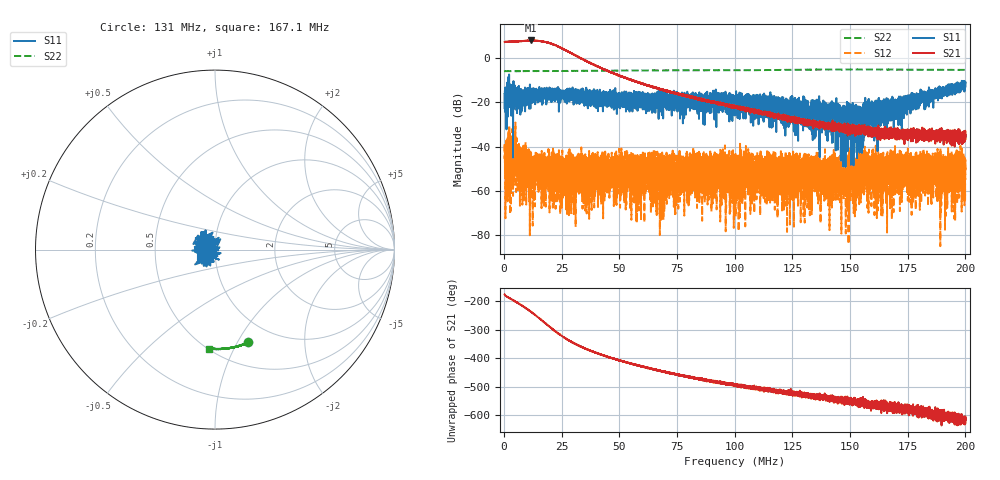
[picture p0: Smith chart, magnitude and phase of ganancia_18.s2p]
# Hz S DB R 50
! CMT, M5065, 19127446, 24.2.4/2
! Date: 11/8/2024 3:55:43 PM
! Data: Format (Calibration Info)
! Freq	S11:dB/Ang(F2)	S21:dB/Ang(F2)	S12:dB/Ang(F2)	S22:dB/Ang(F2)
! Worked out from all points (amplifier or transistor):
!   9000 points, 300 kHz to 200 MHz, reference 50 ohm
!   highest |S21| = 8.0 dB at 11.8 MHz (marker M1)
!   |S21| within 3 dB of that: start of sweep to 24.03 MHz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
!   unconditionally stable (mu >= 1): start of sweep to end of sweep
!   at 33.59 MHz: K = 155.20, MAG = 1.2 dB, |S12| = -52.4 dB
!   at 100.2 MHz: K = 15524.05, MAG = -20.4 dB, |S12| = -70.9 dB
!   at 200 MHz: K = 5890.29, MAG = -32.8 dB, |S12| = -50.5 dB
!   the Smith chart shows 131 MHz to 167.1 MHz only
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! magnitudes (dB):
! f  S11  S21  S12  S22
! 300 kHz  -16.2  7.3  -38.9  -5.9
! 1.299 MHz  -15.4  7.4  -43.5  -5.9
! 5.027 MHz  -17.7  7.6  -47.4  -5.9
! 6.735 MHz  -20.8  7.7  -49.5  -5.8
! 11.8 MHz  -15.0  8.0  -47.7  -5.8
! 14.72 MHz  -15.8  7.8  -51.8  -5.8
! 25.4 MHz  -18.1  4.3  -52.8  -5.8
! 33.59 MHz  -19.7  -0.2  -52.4  -5.7
! 66.87 MHz  -18.2  -13.6  -47.8  -5.5
! 100.2 MHz  -20.0  -21.9  -70.9  -5.5
! 102.7 MHz  -19.8  -21.9  -42.0  -5.4
! 133.4 MHz  -20.4  -29.0  -54.6  -5.2
! 154.8 MHz  -22.3  -34.5  -45.9  -5.1
! 156.9 MHz  -24.6  -32.1  -47.2  -5.1
! 166.7 MHz  -26.3  -32.9  -47.9  -5.1
! 171.7 MHz  -20.6  -34.7  -57.0  -5.2
! 173.5 MHz  -20.7  -33.0  -50.7  -5.2
! 176.4 MHz  -22.8  -37.6  -44.8  -5.2
! 187.2 MHz  -17.3  -35.2  -50.5  -5.3
! 189.2 MHz  -16.2  -35.2  -52.5  -5.3
! 197.2 MHz  -13.6  -35.5  -63.2  -5.3
! 200 MHz  -11.1  -34.7  -50.5  -5.3
